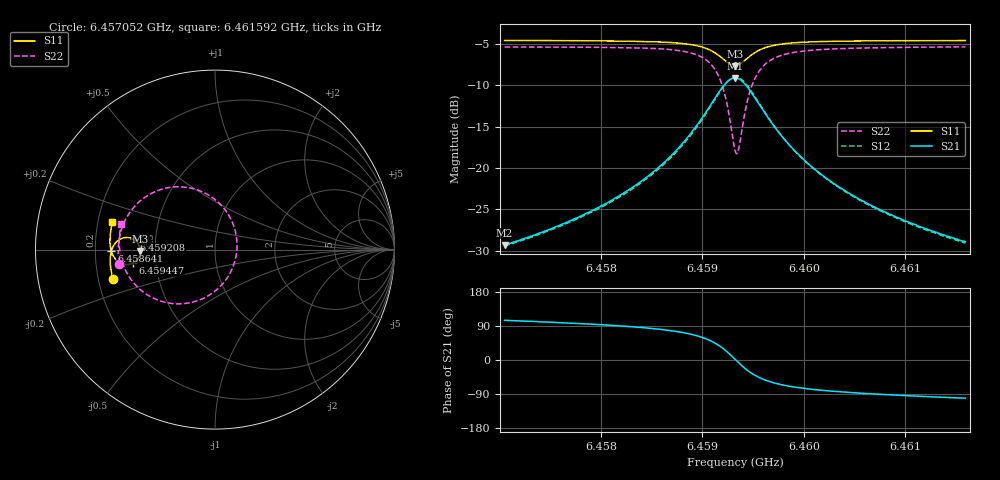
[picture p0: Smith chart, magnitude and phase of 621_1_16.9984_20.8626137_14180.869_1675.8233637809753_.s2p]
#  HZ  S  RI  R  50.00
! Rohde & Schwarz Vector Network Analyzer
! Rohde-Schwarz,ZNB20-2Port,1311601062101988,3.16
! Created: UTC 3/20/2024, 11:19:56 PM
! freq[Hz]  re:S11  im:S11  re:S21  im:S21  re:S12  im:S12  re:S22  im:S22
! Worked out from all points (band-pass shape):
!   401 points, 6.457052 GHz to 6.461592 GHz, reference 50 ohm
!   highest |S21| = -9.09 dB at 6.459322 GHz (marker M1); lowest = -29.3 dB at 6.457052 GHz (marker M2)
!   |S21| within 3 dB of the highest: 6.459096 GHz to 6.459549 GHz (453.7 kHz wide, 0.00702 % of centre)
!   lowest |S11| = -7.6 dB at 6.459322 GHz (marker M3), VSWR 2.42, Z = 20.6 - j0.381 ohm
!   |S11| at or under -10 dB: nowhere
!   |S22| runs from -18.3 to -5.3 dB; largest |S21 - S12| = 0.014
!   S11 on the Smith chart (normalised r, x): 6.457052 GHz: 0.26, -0.13; 6.458641 GHz: 0.27, -0.01; 6.459208 GHz: 0.38, +0.05; 6.459447 GHz: 0.37, -0.07; 6.461592 GHz: 0.26, +0.12
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6.4570522e9  -0.5682 -0.1665  -0.00862 0.033  -0.00681 0.0329  -0.5348 -0.0777
6.4578126e9  -0.5815 -0.0996  -0.00519 0.0511  -0.00257 0.0506  -0.5391 0.0123
6.4582325e9  -0.584 -0.0572  0.000888 0.0708  0.00438 0.0695  -0.5299 0.0798
6.4585729e9  -0.5798 -0.0161  0.0153 0.1001  0.0192 0.0972  -0.5034 0.1578
6.458641e9  -0.5774 -0.00668  0.0206 0.1085  0.0248 0.1052  -0.493 0.178
6.458834e9  -0.5645 0.0238  0.0478 0.1396  0.052 0.1345  -0.4419 0.2475
6.4589815e9  -0.5414 0.0499  0.0939 0.1703  0.0971 0.1635  -0.357 0.3119
6.4591177e9  -0.497 0.0673  0.1823 0.1865  0.1832 0.1791  -0.1949 0.3498
6.4592085e9  -0.4519 0.0565  0.2733 0.1545  0.2736 0.1486  -0.0259 0.2975
6.4592766e9  -0.4224 0.0239  0.3345 0.0813  0.3368 0.0759  0.0908 0.1651
6.459322e9  -0.4155 -0.00764  0.3508 0.0121  0.3547 0.00522  0.1229 0.0355
6.459356e9  -0.4196 -0.0316  0.3446 -0.0412  0.3488 -0.0503  0.1105 -0.0657
6.4594014e9  -0.4356 -0.0582  0.3153 -0.1017  0.3177 -0.1141  0.051 -0.1809
6.4594468e9  -0.458 -0.0748  0.2724 -0.1434  0.2715 -0.157  -0.0365 -0.2565
6.4595376e9  -0.5021 -0.0818  0.1859 -0.1744  0.1795 -0.1864  -0.2091 -0.3023
6.4596057e9  -0.5267 -0.0743  0.1367 -0.1722  0.1286 -0.1812  -0.304 -0.2862
6.4596851e9  -0.5464 -0.0609  0.0967 -0.1597  0.0878 -0.166  -0.3793 -0.2505
6.459844e9  -0.5681 -0.0332  0.0512 -0.1312  0.0435 -0.1339  -0.4604 -0.1767
6.4600823e9  -0.5809 0.00235  0.0219 -0.0987  0.016 -0.0993  -0.5084 -0.0929
6.4604568e9  -0.5853 0.047  0.00509 -0.0694  0.00112 -0.0689  -0.5305 -0.00652
6.4608427e9  -0.5834 0.0857  -0.00172 -0.0524  -0.0046 -0.0518  -0.5334 0.0555
6.4615917e9  -0.5713 0.1523  -0.00665 -0.035  -0.00852 -0.0341  -0.5219 0.1449
